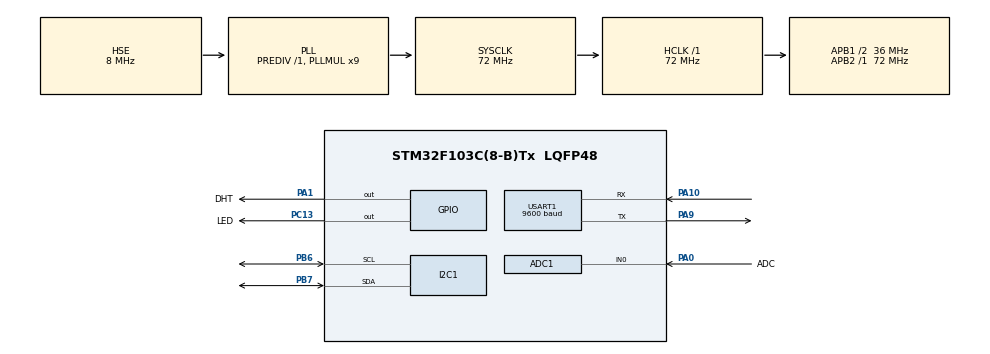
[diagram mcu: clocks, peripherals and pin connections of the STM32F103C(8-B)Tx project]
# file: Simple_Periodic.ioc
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ADC1.Channel-0\#ChannelRegularConversion=ADC_CHANNEL_0
ADC1.NbrOfConversionFlag=1
ADC1.Rank-0\#ChannelRegularConversion=1
ADC1.SamplingTime-0\#ChannelRegularConversion=ADC_SAMPLETIME_239CYCLES_5
ADC1.master=1
Mcu.Family=STM32F1
Mcu.Name=STM32F103C(8-B)Tx
Mcu.Package=LQFP48
NVIC.PriorityGroup=NVIC_PRIORITYGROUP_4
NVIC.USART1_IRQn=true\:0\:0\:false\:false\:true\:true\:true\:true
PA0-WKUP.GPIO_Label=ADC
PA0-WKUP.Signal=ADCx_IN0
PA1.GPIO_Label=DHT
PA1.Signal=GPIO_Output
PA10.Mode=Asynchronous
PA10.Signal=USART1_RX
PA13.Mode=Serial_Wire
PA13.Signal=SYS_JTMS-SWDIO
PA14.Mode=Serial_Wire
PA14.Signal=SYS_JTCK-SWCLK
PA9.Mode=Asynchronous
PA9.Signal=USART1_TX
PB6.Mode=I2C
PB6.Signal=I2C1_SCL
PB7.Mode=I2C
PB7.Signal=I2C1_SDA
PC13-TAMPER-RTC.GPIO_Label=LED
PC13-TAMPER-RTC.Signal=GPIO_Output
PD0-OSC_IN.Mode=HSE-External-Oscillator
PD0-OSC_IN.Signal=RCC_OSC_IN
PD1-OSC_OUT.Mode=HSE-External-Oscillator
PD1-OSC_OUT.Signal=RCC_OSC_OUT
ProjectManager.HeapSize=0x200
ProjectManager.StackSize=0x400
ProjectManager.TargetToolchain=STM32CubeIDE
RCC.ADCPresc=RCC_ADCPCLK2_DIV6
RCC.AHBFreq_Value=72000000
RCC.APB1CLKDivider=RCC_HCLK_DIV2
RCC.APB1Freq_Value=36000000
RCC.APB1TimFreq_Value=72000000
RCC.APB2Freq_Value=72000000
RCC.APB2TimFreq_Value=72000000
RCC.HCLKFreq_Value=72000000
RCC.PLLMUL=RCC_PLL_MUL9
RCC.PLLSourceVirtual=RCC_PLLSOURCE_HSE
RCC.SYSCLKFreq_VALUE=72000000
RCC.SYSCLKSource=RCC_SYSCLKSOURCE_PLLCLK
RCC.USBFreq_Value=72000000
SH.ADCx_IN0.0=ADC1_IN0,IN0
TIM4.AutoReloadPreload=TIM_AUTORELOAD_PRELOAD_ENABLE
TIM4.Prescaler=72-1
USART1.BaudRate=9600
USART1.VirtualMode=VM_ASYNC
VP_TIM4_VS_ClockSourceINT.Mode=Internal
board=custom

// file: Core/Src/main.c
/* USER CODE BEGIN Header */
/**
  ******************************************************************************
  * @file           : main.c
  * @brief          : Main program body
  ******************************************************************************
  * @attention
  *
  * Copyright (c) 2026 STMicroelectronics.
  * All rights reserved.
  *
  * This software is licensed under terms that can be found in the LICENSE file
  * in the root directory of this software component.
  * If no LICENSE file comes with this software, it is provided AS-IS.
  *
  ******************************************************************************
  */
/* USER CODE END Header */
#include "main.h"

/* USER CODE BEGIN Includes */
#include "DHT22.h"
#include "i2c_lcd.h"
#include <stdio.h>
#include <string.h>
/* USER CODE END Includes */

/* USER CODE BEGIN PD */
#define ADC_DRY  3910  // Giá trị khi đất khô (0%)
#define ADC_WET  1800  // Giá trị khi đất ướt (100%)
/* USER CODE END PD */

ADC_HandleTypeDef hadc1;

I2C_HandleTypeDef hi2c1;

TIM_HandleTypeDef htim4;

UART_HandleTypeDef huart1;

void SystemClock_Config(void);
static void MX_GPIO_Init(void);
static void MX_ADC1_Init(void);
static void MX_I2C1_Init(void);
static void MX_USART1_UART_Init(void);
static void MX_TIM4_Init(void);
/* USER CODE BEGIN PFP */
void Task_ADC(void);
void Task_LCD(void);
void Task_DHT(void);
void Task_UART(void);
/* USER CODE END PFP */

/* USER CODE BEGIN 0 */
DHT22_HandleTypeDef dht;
DHT22_Data_t dht_data;

uint8_t rx_byte;
uint8_t rx_buffer[50];
uint8_t rx_index = 0;
uint32_t adc_val = 0, t1_in, t1_out, t2_in, t2_out, t3_in, t3_out, t4_in, t4_out, t5_in, t5_out;
volatile uint32_t P = 2000;
float temp=0, hum=0;
char str_buff[50];
/* USER CODE END 0 */

int main(void)
{

  /* MCU Configuration--------------------------------------------------------*/

  /* Reset of all peripherals, Initializes the Flash interface and the Systick. */
  HAL_Init();

  /* Configure the system clock */
  SystemClock_Config();

  /* Initialize all configured peripherals */
  MX_GPIO_Init();
  MX_ADC1_Init();
  MX_I2C1_Init();
  MX_USART1_UART_Init();
  MX_TIM4_Init();
  /* USER CODE BEGIN 2 */
  lcd_init();
  dht.GPIOx = GPIOA;
  dht.GPIO_Pin = GPIO_PIN_1;
  dht.htim = &htim4;
  DHT22_Init(&dht);
  HAL_TIM_Base_Start(&htim4);
  HAL_ADCEx_Calibration_Start(&hadc1);

  HAL_DBGMCU_EnableDBGSleepMode();
  HAL_UART_Receive_IT(&huart1, &rx_byte, 1);
  HAL_GPIO_WritePin(GPIOC, GPIO_PIN_13, GPIO_PIN_RESET);
  /* USER CODE END 2 */

  /* Infinite loop */
  /* USER CODE BEGIN WHILE */
  int t0 = HAL_GetTick();
  while (1)
  {
	  if (HAL_GetTick() % P ==t0)
	  {
		  HAL_GPIO_WritePin(GPIOC, GPIO_PIN_13, GPIO_PIN_SET);
	      Task_ADC();
	      Task_DHT();
	      Task_LCD();
	      Task_UART();
	  }
	  HAL_GPIO_WritePin(GPIOC, GPIO_PIN_13, GPIO_PIN_RESET);
	  //HAL_PWR_EnterSLEEPMode(PWR_MAINREGULATOR_ON, PWR_SLEEPENTRY_WFI);
    /* USER CODE END WHILE */

  }
}

void SystemClock_Config(void)
{
  RCC_OscInitTypeDef RCC_OscInitStruct = {0};
  RCC_ClkInitTypeDef RCC_ClkInitStruct = {0};
  RCC_PeriphCLKInitTypeDef PeriphClkInit = {0};

  /** Initializes the RCC Oscillators according to the specified parameters
  * in the RCC_OscInitTypeDef structure.
  */
  RCC_OscInitStruct.OscillatorType = RCC_OSCILLATORTYPE_HSE;
  RCC_OscInitStruct.HSEState = RCC_HSE_ON;
  RCC_OscInitStruct.HSEPredivValue = RCC_HSE_PREDIV_DIV1;
  RCC_OscInitStruct.HSIState = RCC_HSI_ON;
  RCC_OscInitStruct.PLL.PLLState = RCC_PLL_ON;
  RCC_OscInitStruct.PLL.PLLSource = RCC_PLLSOURCE_HSE;
  RCC_OscInitStruct.PLL.PLLMUL = RCC_PLL_MUL9;
  if (HAL_RCC_OscConfig(&RCC_OscInitStruct) != HAL_OK)
  {
    Error_Handler();
  }

  /** Initializes the CPU, AHB and APB buses clocks
  */
  RCC_ClkInitStruct.ClockType = RCC_CLOCKTYPE_HCLK|RCC_CLOCKTYPE_SYSCLK
                              |RCC_CLOCKTYPE_PCLK1|RCC_CLOCKTYPE_PCLK2;
  RCC_ClkInitStruct.SYSCLKSource = RCC_SYSCLKSOURCE_PLLCLK;
  RCC_ClkInitStruct.AHBCLKDivider = RCC_SYSCLK_DIV1;
  RCC_ClkInitStruct.APB1CLKDivider = RCC_HCLK_DIV2;
  RCC_ClkInitStruct.APB2CLKDivider = RCC_HCLK_DIV1;

  if (HAL_RCC_ClockConfig(&RCC_ClkInitStruct, FLASH_LATENCY_2) != HAL_OK)
  {
    Error_Handler();
  }
  PeriphClkInit.PeriphClockSelection = RCC_PERIPHCLK_ADC;
  PeriphClkInit.AdcClockSelection = RCC_ADCPCLK2_DIV6;
  if (HAL_RCCEx_PeriphCLKConfig(&PeriphClkInit) != HAL_OK)
  {
    Error_Handler();
  }
}

static void MX_ADC1_Init(void)
{

  ADC_ChannelConfTypeDef sConfig = {0};

  /** Common config
  */
  hadc1.Instance = ADC1;
  hadc1.Init.ScanConvMode = ADC_SCAN_DISABLE;
  hadc1.Init.ContinuousConvMode = DISABLE;
  hadc1.Init.DiscontinuousConvMode = DISABLE;
  hadc1.Init.ExternalTrigConv = ADC_SOFTWARE_START;
  hadc1.Init.DataAlign = ADC_DATAALIGN_RIGHT;
  hadc1.Init.NbrOfConversion = 1;
  if (HAL_ADC_Init(&hadc1) != HAL_OK)
  {
    Error_Handler();
  }

  /** Configure Regular Channel
  */
  sConfig.Channel = ADC_CHANNEL_0;
  sConfig.Rank = ADC_REGULAR_RANK_1;
  sConfig.SamplingTime = ADC_SAMPLETIME_239CYCLES_5;
  if (HAL_ADC_ConfigChannel(&hadc1, &sConfig) != HAL_OK)
  {
    Error_Handler();
  }

}

static void MX_I2C1_Init(void)
{

  hi2c1.Instance = I2C1;
  hi2c1.Init.ClockSpeed = 100000;
  hi2c1.Init.DutyCycle = I2C_DUTYCYCLE_2;
  hi2c1.Init.OwnAddress1 = 0;
  hi2c1.Init.AddressingMode = I2C_ADDRESSINGMODE_7BIT;
  hi2c1.Init.DualAddressMode = I2C_DUALADDRESS_DISABLE;
  hi2c1.Init.OwnAddress2 = 0;
  hi2c1.Init.GeneralCallMode = I2C_GENERALCALL_DISABLE;
  hi2c1.Init.NoStretchMode = I2C_NOSTRETCH_DISABLE;
  if (HAL_I2C_Init(&hi2c1) != HAL_OK)
  {
    Error_Handler();
  }

}

static void MX_TIM4_Init(void)
{

  TIM_ClockConfigTypeDef sClockSourceConfig = {0};
  TIM_MasterConfigTypeDef sMasterConfig = {0};

  htim4.Instance = TIM4;
  htim4.Init.Prescaler = 72-1;
  htim4.Init.CounterMode = TIM_COUNTERMODE_UP;
  htim4.Init.Period = 65535;
  htim4.Init.ClockDivision = TIM_CLOCKDIVISION_DIV1;
  htim4.Init.AutoReloadPreload = TIM_AUTORELOAD_PRELOAD_ENABLE;
  if (HAL_TIM_Base_Init(&htim4) != HAL_OK)
  {
    Error_Handler();
  }
  sClockSourceConfig.ClockSource = TIM_CLOCKSOURCE_INTERNAL;
  if (HAL_TIM_ConfigClockSource(&htim4, &sClockSourceConfig) != HAL_OK)
  {
    Error_Handler();
  }
  sMasterConfig.MasterOutputTrigger = TIM_TRGO_RESET;
  sMasterConfig.MasterSlaveMode = TIM_MASTERSLAVEMODE_DISABLE;
  if (HAL_TIMEx_MasterConfigSynchronization(&htim4, &sMasterConfig) != HAL_OK)
  {
    Error_Handler();
  }

}

static void MX_USART1_UART_Init(void)
{

  huart1.Instance = USART1;
  huart1.Init.BaudRate = 9600;
  huart1.Init.WordLength = UART_WORDLENGTH_8B;
  huart1.Init.StopBits = UART_STOPBITS_1;
  huart1.Init.Parity = UART_PARITY_NONE;
  huart1.Init.Mode = UART_MODE_TX_RX;
  huart1.Init.HwFlowCtl = UART_HWCONTROL_NONE;
  huart1.Init.OverSampling = UART_OVERSAMPLING_16;
  if (HAL_UART_Init(&huart1) != HAL_OK)
  {
    Error_Handler();
  }

}

static void MX_GPIO_Init(void)
{
  GPIO_InitTypeDef GPIO_InitStruct = {0};

  /* GPIO Ports Clock Enable */
  __HAL_RCC_GPIOC_CLK_ENABLE();
  __HAL_RCC_GPIOD_CLK_ENABLE();
  __HAL_RCC_GPIOA_CLK_ENABLE();
  __HAL_RCC_GPIOB_CLK_ENABLE();

  /*Configure GPIO pin Output Level */
  HAL_GPIO_WritePin(LED_GPIO_Port, LED_Pin, GPIO_PIN_RESET);

  /*Configure GPIO pin Output Level */
  HAL_GPIO_WritePin(DHT_GPIO_Port, DHT_Pin, GPIO_PIN_RESET);

  /*Configure GPIO pin : LED_Pin */
  GPIO_InitStruct.Pin = LED_Pin;
  GPIO_InitStruct.Mode = GPIO_MODE_OUTPUT_PP;
  GPIO_InitStruct.Pull = GPIO_NOPULL;
  GPIO_InitStruct.Speed = GPIO_SPEED_FREQ_LOW;
  HAL_GPIO_Init(LED_GPIO_Port, &GPIO_InitStruct);

  /*Configure GPIO pin : DHT_Pin */
  GPIO_InitStruct.Pin = DHT_Pin;
  GPIO_InitStruct.Mode = GPIO_MODE_OUTPUT_PP;
  GPIO_InitStruct.Pull = GPIO_NOPULL;
  GPIO_InitStruct.Speed = GPIO_SPEED_FREQ_LOW;
  HAL_GPIO_Init(DHT_GPIO_Port, &GPIO_InitStruct);

}

/* USER CODE BEGIN 4 */
void Task_ADC(void)
{
    t1_in = HAL_GetTick();
    HAL_ADC_Start(&hadc1);
    if (HAL_ADC_PollForConversion(&hadc1, 100) == HAL_OK)
    {
        adc_val = HAL_ADC_GetValue(&hadc1);
    }
    HAL_ADC_Stop(&hadc1);
	float tu_so = (float)adc_val - (float)ADC_DRY;
	float mau_so = (float)ADC_WET - (float)ADC_DRY;
	hum = (tu_so / mau_so) * 100.0f;
	if (hum > 100.0f) hum = 100.0f;
	if (hum < 0.0f) hum = 0.0f;
    t1_out = HAL_GetTick();
}

void Task_DHT(void)
{
    t2_in = HAL_GetTick();
    if (DHT22_Read(&dht, &dht_data) == 0)
    {
        temp = dht_data.Temperature;
        // hum = dht_data.Humidity;
    }
    t2_out = HAL_GetTick();
}

void Task_LCD(void)
{
    t3_in = HAL_GetTick();

    sprintf(str_buff, "Temp: %.1fC   ", temp);
    lcd_put_cur(0, 0);
    lcd_send_string(str_buff);

    sprintf(str_buff, "Soil: %.1f%%   ", hum);
    lcd_put_cur(1, 0);
    lcd_send_string(str_buff);

    t3_out = HAL_GetTick();
}

void Task_UART(void)
{
    t4_in = HAL_GetTick();

    sprintf(str_buff, "Temp: %.1f Soil: %.1f%%\r\n", temp, hum);
    HAL_UART_Transmit(&huart1, (uint8_t*)str_buff, strlen(str_buff), 100);

    t4_out = HAL_GetTick();
}

// Hàm xử lý ngắt UART
void HAL_UART_RxCpltCallback(UART_HandleTypeDef *huart)
{
	if (huart->Instance == USART1)
	{
		if (rx_byte == '\n')
		{
			rx_buffer[rx_index] = '\0';
			rx_index = 0;
			if (strstr((char*)rx_buffer, "SET_PERIOD:") != NULL)
				{
					 int New_P;
					 if(sscanf((char*) rx_buffer, "SET_PERIOD:%d", &New_P) == 1)
					 {
						 P = (uint16_t)New_P;
					 }
				}
		}
		else if (rx_index < 49) {
			rx_buffer[rx_index++] = rx_byte;
		}
		HAL_UART_Receive_IT(&huart1, &rx_byte, 1);
	}

}
/* USER CODE END 4 */

void Error_Handler(void)
{
  __disable_irq();
  while (1)
  {
  }
}
